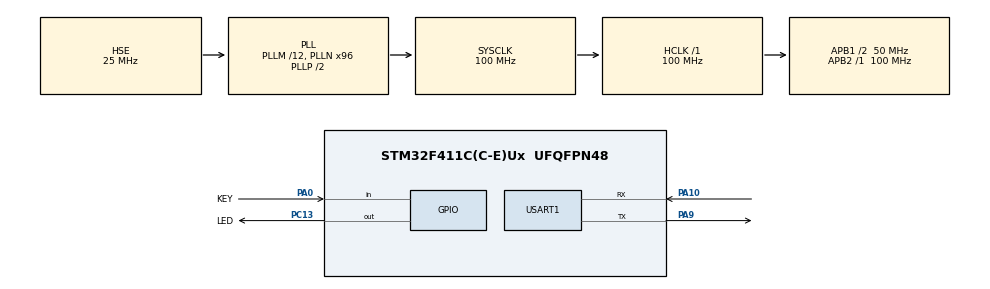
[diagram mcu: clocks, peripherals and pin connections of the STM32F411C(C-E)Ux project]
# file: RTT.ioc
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FREERTOS.Tasks01=defaultTask,24,128,StartDefaultTask,Default,NULL,Dynamic,NULL,NULL
Mcu.Family=STM32F4
Mcu.Name=STM32F411C(C-E)Ux
Mcu.Package=UFQFPN48
NVIC.PriorityGroup=NVIC_PRIORITYGROUP_4
NVIC.TIM1_UP_TIM10_IRQn=true\:15\:0\:false\:false\:true\:false\:false\:true\:true
NVIC.TimeBase=TIM1_UP_TIM10_IRQn
NVIC.TimeBaseIP=TIM1
PA0-WKUP.GPIO_Label=KEY
PA0-WKUP.GPIO_PuPd=GPIO_PULLUP
PA0-WKUP.Signal=GPIO_Input
PA10.Mode=Asynchronous
PA10.Signal=USART1_RX
PA13.Mode=Serial_Wire
PA13.Signal=SYS_JTMS-SWDIO
PA14.Mode=Serial_Wire
PA14.Signal=SYS_JTCK-SWCLK
PA9.Mode=Asynchronous
PA9.Signal=USART1_TX
PC13-ANTI_TAMP.GPIO_Label=LED
PC13-ANTI_TAMP.GPIO_PuPd=GPIO_PULLUP
PC13-ANTI_TAMP.Signal=GPIO_Output
PC14-OSC32_IN.Mode=LSE-External-Oscillator
PC14-OSC32_IN.Signal=RCC_OSC32_IN
PC15-OSC32_OUT.Mode=LSE-External-Oscillator
PC15-OSC32_OUT.Signal=RCC_OSC32_OUT
PH0\ -\ OSC_IN.Mode=HSE-External-Oscillator
PH0\ -\ OSC_IN.Signal=RCC_OSC_IN
PH1\ -\ OSC_OUT.Mode=HSE-External-Oscillator
PH1\ -\ OSC_OUT.Signal=RCC_OSC_OUT
ProjectManager.HeapSize=0x200
ProjectManager.StackSize=0x400
ProjectManager.TargetToolchain=MDK-ARM V5.32
RCC.48MHZClocksFreq_Value=50000000
RCC.AHBFreq_Value=100000000
RCC.APB1CLKDivider=RCC_HCLK_DIV2
RCC.APB1Freq_Value=50000000
RCC.APB1TimFreq_Value=100000000
RCC.APB2Freq_Value=100000000
RCC.APB2TimFreq_Value=100000000
RCC.CortexFreq_Value=100000000
RCC.HCLKFreq_Value=100000000
RCC.HSE_VALUE=25000000
RCC.HSI_VALUE=16000000
RCC.PLLM=12
RCC.PLLN=96
RCC.PLLSourceVirtual=RCC_PLLSOURCE_HSE
RCC.SYSCLKFreq_VALUE=100000000
RCC.SYSCLKSource=RCC_SYSCLKSOURCE_PLLCLK
RCC.VCOOutputFreq_Value=200000000
USART1.VirtualMode=VM_ASYNC
VP_FREERTOS_VS_CMSIS_V2.Mode=CMSIS_V2
VP_SYS_VS_tim1.Mode=TIM1
board=custom

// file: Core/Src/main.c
/* USER CODE BEGIN Header */
/**
  ******************************************************************************
  * @file           : main.c
  * @brief          : Main program body
  ******************************************************************************
  * @attention
  *
  * Copyright (c) 2026 STMicroelectronics.
  * All rights reserved.
  *
  * This software is licensed under terms that can be found in the LICENSE file
  * in the root directory of this software component.
  * If no LICENSE file comes with this software, it is provided AS-IS.
  *
  ******************************************************************************
  */
/* USER CODE END Header */
#include "main.h"
#include "cmsis_os.h"
#include "usart.h"
#include "gpio.h"

/* USER CODE BEGIN Includes */
#include <stdio.h>
#include "elog.h"

#include "app_elog.h"
/* USER CODE END Includes */

void SystemClock_Config(void);
void MX_FREERTOS_Init(void);
/* USER CODE BEGIN PFP */
 #ifdef __GNUC__
     #define PUTCHAR_PROTOTYPE int _io_putchar(int ch)
 #else
     #define PUTCHAR_PROTOTYPE int fputc(int ch, FILE *f)
 #endif /* __GNUC__*/
PUTCHAR_PROTOTYPE
{
     HAL_UART_Transmit(&huart1, (uint8_t *)&ch,1,0xFFFF);
     return ch;
}
/* USER CODE END PFP */

int main(void)
{

  /* MCU Configuration--------------------------------------------------------*/

  /* Reset of all peripherals, Initializes the Flash interface and the Systick. */
  HAL_Init();

  /* Configure the system clock */
  SystemClock_Config();

  /* Initialize all configured peripherals */
  MX_GPIO_Init();
  MX_USART1_UART_Init();
  /* USER CODE BEGIN 2 */
  app_elog_init();
  /* USER CODE END 2 */

  /* Init scheduler */
  //osKernelInitialize();  /* Call init function for freertos objects (in freertos.c) */
  //MX_FREERTOS_Init();

  /* Start scheduler */
  //osKernelStart();
  /* We should never get here as control is now taken by the scheduler */
  /* Infinite loop */
  while (1)
  {

    /* USER CODE BEGIN 3 */
      test_elog();
      HAL_Delay(1000);
      printf("Hello world!");
  }
  /* USER CODE END 3 */
}

void SystemClock_Config(void)
{
  RCC_OscInitTypeDef RCC_OscInitStruct = {0};
  RCC_ClkInitTypeDef RCC_ClkInitStruct = {0};

  /** Configure the main internal regulator output voltage
  */
  __HAL_RCC_PWR_CLK_ENABLE();
  __HAL_PWR_VOLTAGESCALING_CONFIG(PWR_REGULATOR_VOLTAGE_SCALE1);

  /** Initializes the RCC Oscillators according to the specified parameters
  * in the RCC_OscInitTypeDef structure.
  */
  RCC_OscInitStruct.OscillatorType = RCC_OSCILLATORTYPE_HSE;
  RCC_OscInitStruct.HSEState = RCC_HSE_ON;
  RCC_OscInitStruct.PLL.PLLState = RCC_PLL_ON;
  RCC_OscInitStruct.PLL.PLLSource = RCC_PLLSOURCE_HSE;
  RCC_OscInitStruct.PLL.PLLM = 12;
  RCC_OscInitStruct.PLL.PLLN = 96;
  RCC_OscInitStruct.PLL.PLLP = RCC_PLLP_DIV2;
  RCC_OscInitStruct.PLL.PLLQ = 4;
  if (HAL_RCC_OscConfig(&RCC_OscInitStruct) != HAL_OK)
  {
    Error_Handler();
  }

  /** Initializes the CPU, AHB and APB buses clocks
  */
  RCC_ClkInitStruct.ClockType = RCC_CLOCKTYPE_HCLK|RCC_CLOCKTYPE_SYSCLK
                              |RCC_CLOCKTYPE_PCLK1|RCC_CLOCKTYPE_PCLK2;
  RCC_ClkInitStruct.SYSCLKSource = RCC_SYSCLKSOURCE_PLLCLK;
  RCC_ClkInitStruct.AHBCLKDivider = RCC_SYSCLK_DIV1;
  RCC_ClkInitStruct.APB1CLKDivider = RCC_HCLK_DIV2;
  RCC_ClkInitStruct.APB2CLKDivider = RCC_HCLK_DIV1;

  if (HAL_RCC_ClockConfig(&RCC_ClkInitStruct, FLASH_LATENCY_3) != HAL_OK)
  {
    Error_Handler();
  }
}

void HAL_TIM_PeriodElapsedCallback(TIM_HandleTypeDef *htim)
{
  if (htim->Instance == TIM1) {
    HAL_IncTick();
  }
}

void Error_Handler(void)
{
  __disable_irq();
  while (1)
  {
  }
}
